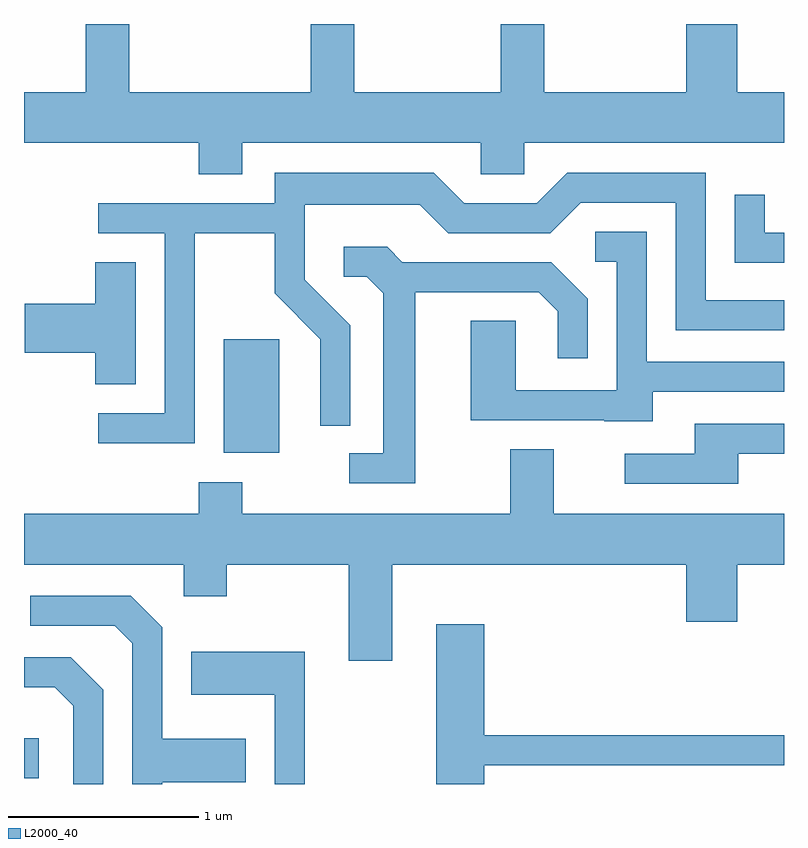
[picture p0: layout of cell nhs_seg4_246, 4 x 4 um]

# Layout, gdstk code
import gdstk
lib = gdstk.Library(unit=1e-6, precision=1e-09)
def R(c, l, rs):  # rectangles x0, y0, x1, y1
    for r in rs: c.add(gdstk.rectangle(r[:2], r[2:], *l))
def P(c, l, *ps):  # polygons
    for p in ps: c.add(gdstk.Polygon(p, *l))
L2000_40 = (2000, 40)

nhs_seg4_246 = lib.new_cell('nhs_seg4_246')
R(nhs_seg4_246, L2000_40, [(191.611,1338.011,191.689,1338.224), (192.661,1339.726,192.954,1340.324)])
P(nhs_seg4_246, L2000_40, [(192.759,1341.356),(194.016,1341.356),(194.016,1341.191),(194.244,1341.191),(194.244,1341.356),(195.611,1341.356),(195.611,1341.624),(195.364,1341.624),(195.364,1341.982),(195.096,1341.982),(195.096,1341.624),(194.349,1341.624),(194.349,1341.982),(194.121,1341.982),(194.121,1341.624),(193.349,1341.624),(193.349,1341.982),(193.121,1341.982),(193.121,1341.624),(192.164,1341.624),(192.164,1341.982),(191.936,1341.982),(191.936,1341.624),(191.611,1341.624),(191.611,1341.356),(192.531,1341.356),(192.531,1341.191),(192.759,1341.191)],
  [(192.509,1340.881),(192.931,1340.881),(192.931,1340.564),(193.171,1340.324),(193.171,1339.868),(193.329,1339.868),(193.329,1340.397),(193.089,1340.637),(193.089,1341.031),(193.694,1341.031),(193.844,1340.881),(194.382,1340.881),(194.542,1341.041),(195.041,1341.041),(195.041,1340.371),(195.611,1340.371),(195.611,1340.529),(195.199,1340.529),(195.199,1341.199),(194.469,1341.199),(194.309,1341.039),(193.927,1341.039),(193.767,1341.199),(192.931,1341.199),(192.931,1341.039),(192.003,1341.039),(192.003,1340.881),(192.351,1340.881),(192.351,1339.934),(192.003,1339.934),(192.003,1339.776),(192.509,1339.776)],
  [(195.611,1340.884),(195.509,1340.884),(195.509,1341.083),(195.351,1341.083),(195.351,1340.726),(195.611,1340.726)],
  [(194.919,1340.046),(195.611,1340.046),(195.611,1340.204),(194.889,1340.204),(194.889,1340.889),(194.618,1340.889),(194.618,1340.731),(194.731,1340.731),(194.731,1340.054),(194.199,1340.054),(194.199,1340.419),(193.961,1340.419),(193.961,1339.896),(194.665,1339.896),(194.665,1339.891),(194.919,1339.891)],
  [(193.669,1340.571),(194.319,1340.571),(194.421,1340.469),(194.421,1340.223),(194.579,1340.223),(194.579,1340.537),(194.387,1340.729),(193.602,1340.729),(193.522,1340.809),(193.293,1340.809),(193.293,1340.651),(193.414,1340.651),(193.501,1340.564),(193.501,1339.724),(193.323,1339.724),(193.323,1339.566),(193.669,1339.566)],
  [(192.199,1340.729),(191.986,1340.729),(191.986,1340.509),(191.616,1340.509),(191.616,1340.251),(191.986,1340.251),(191.986,1340.086),(192.199,1340.086)],
  [(195.369,1339.721),(195.611,1339.721),(195.611,1339.879),(195.141,1339.879),(195.141,1339.719),(194.773,1339.719),(194.773,1339.561),(195.369,1339.561)],
  [(193.549,1339.136),(195.096,1339.136),(195.096,1338.836),(195.364,1338.836),(195.364,1339.136),(195.611,1339.136),(195.611,1339.404),(194.399,1339.404),(194.399,1339.744),(194.171,1339.744),(194.171,1339.404),(192.759,1339.404),(192.759,1339.569),(192.531,1339.569),(192.531,1339.404),(191.611,1339.404),(191.611,1339.136),(192.451,1339.136),(192.451,1338.971),(192.679,1338.971),(192.679,1339.136),(193.321,1339.136),(193.321,1338.631),(193.549,1338.631)],
  [(192.339,1337.991),(192.779,1337.991),(192.779,1338.219),(192.339,1338.219),(192.339,1338.807),(192.172,1338.974),(191.643,1338.974),(191.643,1338.816),(192.089,1338.816),(192.181,1338.724),(192.181,1337.982),(192.339,1337.982)],
  [(194.034,1338.081),(195.611,1338.081),(195.611,1338.239),(194.034,1338.239),(194.034,1338.824),(193.781,1338.824),(193.781,1337.982),(194.034,1337.982)],
  [(193.089,1338.679),(192.491,1338.679),(192.491,1338.451),(192.931,1338.451),(192.931,1337.982),(193.089,1337.982)],
  [(192.029,1338.477),(191.857,1338.649),(191.611,1338.649),(191.611,1338.491),(191.774,1338.491),(191.871,1338.394),(191.871,1337.982),(192.029,1337.982)])

lib.write_gds('nhs_seg4_246.gds')
